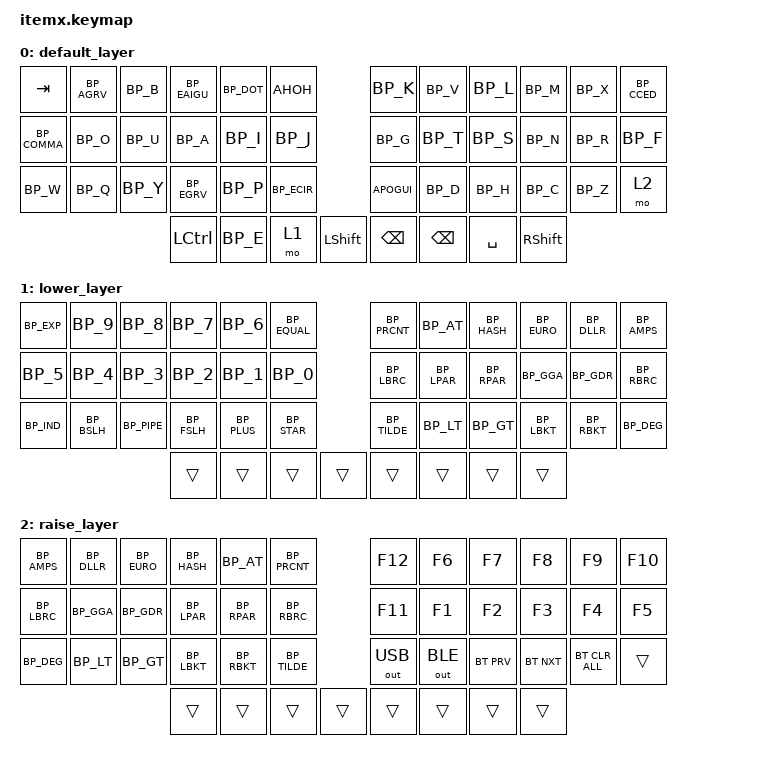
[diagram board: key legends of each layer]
/*
 * SPDX-License-Identifier: Apache-2.0
 *
 * ITEMX keymap — BÉPO layout
 * Adapted from diteMX config by Martin Drillon
 *
 * Layout (46 keys):
 *         ______________________                           ________________________
 *        |0  |1  |2  |3  |4  |5  |                         |6  |7  |8  |9  |10 |11 |
 *        |12 |13 |14 |15 |16 |17 |                         |18 |19 |20 |21 |22 |23 |
 *        |24 |25 |26 |27 |28 |29 |                         |30 |31 |32 |33 |34 |35 |
 *             ‾‾‾‾‾‾‾|36 |37 |38 |39 |40|          |41 |42 |43 |44 |45 |‾‾‾
 *                    ‾‾‾‾‾‾‾‾‾‾‾‾‾‾‾‾‾‾‾           ‾‾‾‾‾‾‾‾‾‾‾‾‾‾‾‾‾‾
 */

#include <behaviors.dtsi>
#include "keys_bepo.h"
#include <dt-bindings/zmk/bt.h>
#include "mouse.dtsi"
#include <dt-bindings/zmk/outputs.h>

#define default 0
#define lower   1
#define raise   2

/ {
    behaviors {
        AHOH: exclamation_question {
            compatible = "zmk,behavior-mod-morph";
            label = "EXCLAMATION_QUESTION";
            #binding-cells = <0>;
            bindings = <&kp BP_QMARK>, <&kp BP_EXCL>;
            mods = <(MOD_LSFT|MOD_RSFT)>;
        };
        APOGUI: apos_guillement {
            compatible = "zmk,behavior-mod-morph";
            label = "APOSTROPHE_GUILLEMET";
            #binding-cells = <0>;
            bindings = <&kp BP_APOS>, <&kp BP_DQT>;
            mods = <(MOD_LSFT|MOD_RSFT)>;
        };
    };
};

#define COMBO(NAME, TIME, BINDINGS, KEYPOS) \
  combo_##NAME { \
    timeout-ms = <TIME>; \
    bindings = <BINDINGS>; \
    key-positions = <KEYPOS>; \
  };

/ {
    combos {
        compatible = "zmk,combos";

        COMBO(circonflexe, 70, &kp BP_CARET, 8 9)
        COMBO(tiret, 70, &kp BP_MINUS, 7 8)
        COMBO(underscore, 70, &kp BP_UNDER, 31 32)

        COMBO(fleche_haut, 50, &kp UP, 3 15)
        COMBO(fleche_bas, 50, &kp DOWN, 15 27)
        COMBO(fleche_gauche, 70, &kp LEFT, 12 13)
        COMBO(fleche_droite, 50, &kp RIGHT, 16 17)

        COMBO(supr, 50, &kp DEL, 4 16)
        COMBO(enter_un, 80, &kp ENTER, 13 14 15 16)
        COMBO(enter_two, 80, &kp ENTER, 14 15 16)
        COMBO(esc, 50, &kp ESC, 0 1)
        COMBO(caps_lock, 70, &kp CAPS, 37 44)

        COMBO(ctrl_z, 50, &kp LC(BP_Z), 25 26)
        COMBO(ctrl_c, 50, &kp LC(BP_C), 26 27)
        COMBO(ctrl_v, 50, &kp LC(BP_V), 27 28)
        COMBO(ctrl_s, 70, &kp LC(BP_S), 4 5)

        COMBO(bt_profile_0, 50, &bt BT_SEL 0, 9 10 11)
        COMBO(bt_profile_1, 50, &bt BT_SEL 1, 21 22 23)
        COMBO(bt_profile_2, 50, &bt BT_SEL 2, 33 34 35)

        COMBO(bt_clear, 50, &bt BT_CLR, 11 23 35)
    };

    keymap {
        compatible = "zmk,keymap";

        default_layer {
// ┌─────────┬─────────┬─────────┬─────────┬─────────┬─────────┐                 ┌─────────┬─────────┬─────────┬─────────┬─────────┬─────────┐
// |   TAB   |    À    |    B    |    É    |    .    |   ?/!   |                 |    K    |    V    |    L    |    M    |    X    |    Ç    |
// |    ,    |    O    |    U    |    A    |    I    |    J    |                 |    G    |    T    |    S    |    N    |    R    |    F    |
// |    W    |    Q    |    Y    |    È    |    P    |    Ê    |                 |   '/«   |    D    |    H    |    C    |    Z    |  raise  |
//                    |  LCTRL  |    E    |  lower  |  LSHFT  |                 |  BSPC   |  BSPC   |  SPACE  |  RSHFT  |
            bindings = <
&kp TAB      &kp BP_AGRV  &kp BP_B   &kp BP_EAIGU  &kp BP_DOT   &AHOH                         &kp BP_K   &kp BP_V    &kp BP_L   &kp BP_M   &kp BP_X   &kp BP_CCED
&kp BP_COMMA &kp BP_O     &kp BP_U   &kp BP_A      &kp BP_I     &kp BP_J                      &kp BP_G   &kp BP_T    &kp BP_S   &kp BP_N   &kp BP_R   &kp BP_F
&kp BP_W     &kp BP_Q     &kp BP_Y   &kp BP_EGRV   &kp BP_P     &kp BP_ECIR                   &APOGUI    &kp BP_D    &kp BP_H   &kp BP_C   &kp BP_Z   &mo 2
                                      &kp LCTRL     &kp BP_E     &mo 1      &kp LSHFT            &kp BSPC &kp BSPC  &kp SPACE   &kp RSHFT
            >;
        };

        lower_layer {
// ┌─────────┬─────────┬─────────┬─────────┬─────────┬─────────┐                 ┌─────────┬─────────┬─────────┬─────────┬─────────┬─────────┐
// |    ^    |    9    |    8    |    7    |    6    |    =    |                 |    %    |    @    |    #    |    €    |    $    |    &    |
// |    5    |    4    |    3    |    2    |    1    |    0    |                 |    {    |    (    |    )    |    «    |    »    |    }    |
// |   ind   |    \    |    |    |    /    |    +    |    *    |                 |    ~    |    <    |    >    |    [    |    ]    |    °    |
//                    |  trans  |  trans  |  trans  |  trans  |                 |  trans  |  trans  |  trans  |  trans  |
            bindings = <
&kp BP_EXP   &kp BP_9     &kp BP_8   &kp BP_7      &kp BP_6     &kp BP_EQUAL                  &kp BP_PRCNT &kp BP_AT  &kp BP_HASH &kp BP_EURO &kp BP_DLLR &kp BP_AMPS
&kp BP_5     &kp BP_4     &kp BP_3   &kp BP_2      &kp BP_1     &kp BP_0                      &kp BP_LBRC  &kp BP_LPAR &kp BP_RPAR &kp BP_GGA &kp BP_GDR  &kp BP_RBRC
&kp BP_IND   &kp BP_BSLH  &kp BP_PIPE &kp BP_FSLH  &kp BP_PLUS  &kp BP_STAR                   &kp BP_TILDE &kp BP_LT  &kp BP_GT   &kp BP_LBKT &kp BP_RBKT &kp BP_DEG
                                      &trans        &trans       &trans      &trans            &trans   &trans      &trans      &trans
            >;
        };

        raise_layer {
// ┌─────────┬─────────┬─────────┬─────────┬─────────┬─────────┐                 ┌─────────┬─────────┬─────────┬─────────┬─────────┬─────────┐
// |    &    |    $    |    €    |    #    |    @    |    %    |                 |   F12   |   F6    |   F7    |   F8    |   F9    |   F10   |
// |    {    |    «    |    »    |    (    |    )    |    }    |                 |   F11   |   F1    |   F2    |   F3    |   F4    |   F5    |
// |    °    |    <    |    >    |    [    |    ]    |    ~    |                 |         |         |         |         |         |         |
//                    |  trans  |  trans  |  trans  |  trans  |                 |  trans  |  trans  |  trans  |  trans  |
            bindings = <
&kp BP_AMPS  &kp BP_DLLR  &kp BP_EURO &kp BP_HASH  &kp BP_AT    &kp BP_PRCNT                  &kp F12    &kp F6      &kp F7     &kp F8     &kp F9     &kp F10
&kp BP_LBRC  &kp BP_GGA   &kp BP_GDR  &kp BP_LPAR  &kp BP_RPAR  &kp BP_RBRC                   &kp F11    &kp F1      &kp F2     &kp F3     &kp F4     &kp F5
&kp BP_DEG   &kp BP_LT    &kp BP_GT   &kp BP_LBKT  &kp BP_RBKT  &kp BP_TILDE                  &out OUT_USB &out OUT_BLE &bt BT_PRV &bt BT_NXT &bt BT_CLR_ALL &trans
                                      &trans       &trans       &trans      &trans            &trans   &trans     &trans      &trans
            >;
        };
    };
};
